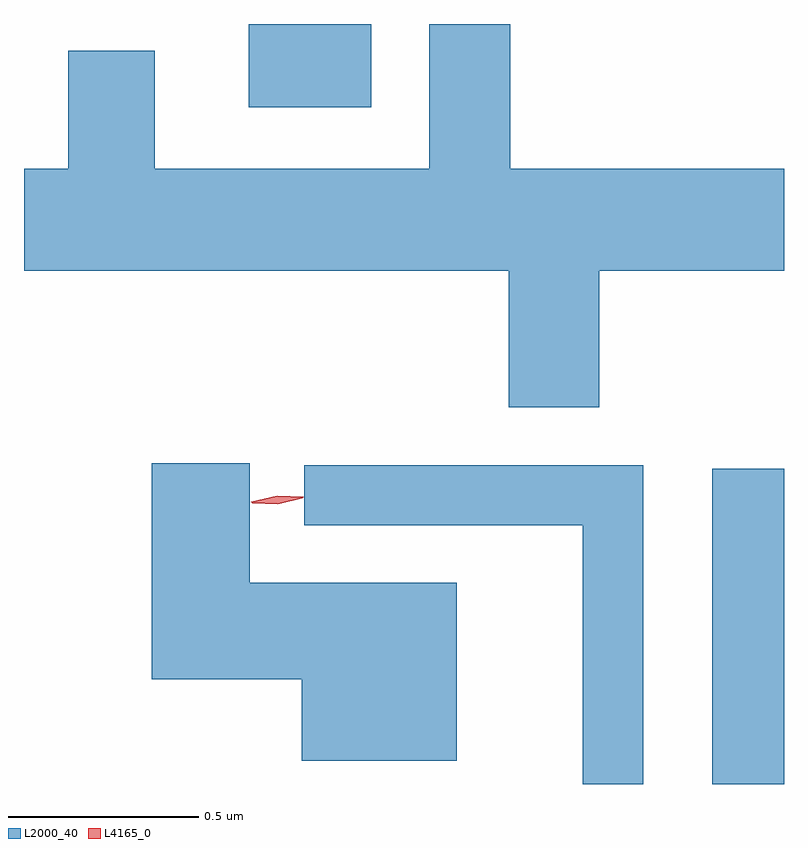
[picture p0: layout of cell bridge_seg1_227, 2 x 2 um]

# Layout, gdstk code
import gdstk
lib = gdstk.Library(unit=1e-6, precision=1e-09)
def R(c, l, rs):  # rectangles x0, y0, x1, y1
    for r in rs: c.add(gdstk.rectangle(r[:2], r[2:], *l))
def P(c, l, *ps):  # polygons
    for p in ps: c.add(gdstk.Polygon(p, *l))
L2000_40 = (2000, 40)
L4165_0 = (4165, 0)

bridge_seg1_227 = lib.new_cell('bridge_seg1_227')
R(bridge_seg1_227, L2000_40, [(777.291,896.005,777.48,896.834), (776.071,897.786,776.394,898.005)])
P(bridge_seg1_227, L2000_40, [(776.994,897.356),(777.48,897.356),(777.48,897.624),(776.759,897.624),(776.759,898.005),(776.546,898.005),(776.546,897.624),(775.824,897.624),(775.824,897.934),(775.596,897.934),(775.596,897.624),(775.48,897.624),(775.48,897.356),(776.756,897.356),(776.756,896.996),(776.994,896.996)],
  [(776.619,896.534),(776.074,896.534),(776.074,896.849),(775.816,896.849),(775.816,896.281),(776.211,896.281),(776.211,896.066),(776.619,896.066)],
  [(777.109,896.844),(776.218,896.844),(776.218,896.686),(776.951,896.686),(776.951,896.005),(777.109,896.005)])
P(bridge_seg1_227, L4165_0, [(776.148,896.741),(776.081,896.744),(776.081,896.745),(776.081,896.745),(776.146,896.761),(776.212,896.758),(776.213,896.758),(776.212,896.757)],
  [(776.148,896.744),(776.078,896.746),(776.078,896.747),(776.078,896.748),(776.146,896.764),(776.215,896.761),(776.216,896.76),(776.215,896.76)])

lib.write_gds('bridge_seg1_227.gds')
